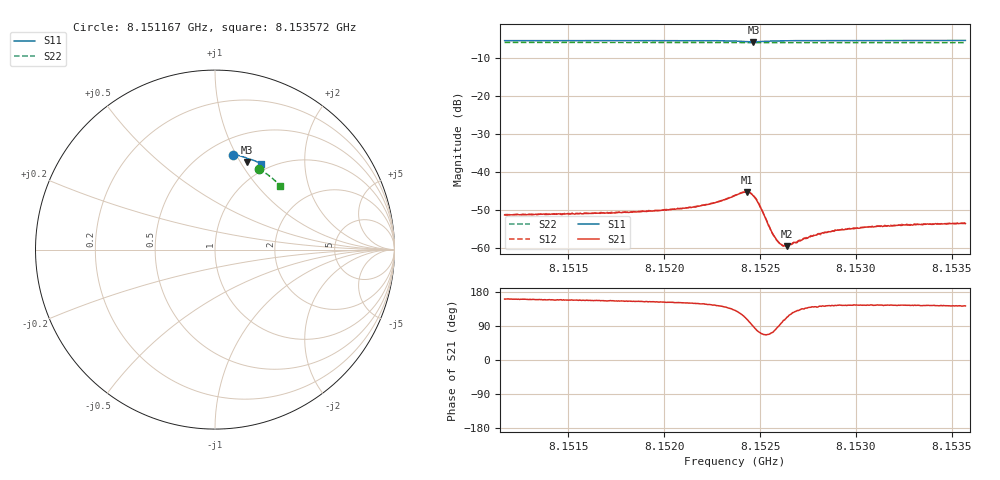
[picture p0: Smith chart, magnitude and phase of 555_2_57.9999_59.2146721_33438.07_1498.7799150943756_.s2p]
#  HZ  S  RI  R  50.00
! Rohde & Schwarz Vector Network Analyzer
! Rohde-Schwarz,ZNB20-2Port,1311601062101988,3.16
! Created: UTC 3/21/2024, 1:15:10 AM
! freq[Hz]  re:S11  im:S11  re:S21  im:S21  re:S12  im:S12  re:S22  im:S22
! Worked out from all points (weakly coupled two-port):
!   401 points, 8.151167 GHz to 8.153572 GHz, reference 50 ohm
!   highest |S21| = -45.29 dB at 8.152429 GHz (marker M1); lowest = -59.6 dB at 8.15264 GHz (marker M2)
!   lowest |S11| = -5.7 dB at 8.152465 GHz (marker M3), VSWR 3.17, Z = 40.1 + j53.6 ohm
!   |S11| at or under -10 dB: nowhere
!   |S22| runs from -5.9 to -5.8 dB; largest |S21 - S12| = 0.00012
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8.1511668e9  0.1018 0.5297  -0.00256 0.000894  -0.00259 0.00092  0.2431 0.4501
8.1515696e9  0.1298 0.5243  -0.00259 0.00109  -0.0026 0.00112  0.2653 0.4368
8.1519724e9  0.1581 0.5168  -0.00274 0.00141  -0.00276 0.00144  0.2868 0.4224
8.1521527e9  0.1715 0.5122  -0.00297 0.00175  -0.00298 0.00178  0.2959 0.4156
8.1522249e9  0.1771 0.5095  -0.0031 0.00205  -0.00311 0.00211  0.2997 0.4128
8.152291e9  0.1827 0.5063  -0.00326 0.00252  -0.00322 0.00257  0.3031 0.41
8.1523692e9  0.1887 0.4988  -0.0032 0.00369  -0.00317 0.00373  0.3069 0.4067
8.1524293e9  0.1871 0.4895  -0.00175 0.00515  -0.0017 0.00519  0.3097 0.4041
8.1524473e9  0.184 0.4878  -0.000798 0.00522  -0.000762 0.00532  0.3103 0.4034
8.1524654e9  0.1801 0.4881  0.000158 0.00482  0.000244 0.0049  0.3111 0.4029
8.1524954e9  0.1767 0.4929  0.00106 0.00354  0.00114 0.00358  0.3123 0.4019
8.1525555e9  0.1811 0.5013  0.00057 0.00162  0.000585 0.00162  0.3156 0.3999
8.1525736e9  0.1831 0.5022  0.000324 0.00138  0.00037 0.00137  0.3164 0.3993
8.1525916e9  0.1852 0.5029  6.65e-05 0.00122  0.000103 0.00122  0.3174 0.3985
8.1526096e9  0.1875 0.5032  -0.000131 0.0011  -0.000114 0.00108  0.3184 0.3979
8.1526217e9  0.1885 0.5034  -0.000268 0.00102  -0.000228 0.00102  0.319 0.3973
8.1526397e9  0.1905 0.5034  -0.000403 0.000969  -0.000411 0.00101  0.3199 0.3966
8.152772e9  0.2024 0.5013  -0.0011 0.000903  -0.00107 0.000923  0.3265 0.3911
8.1529042e9  0.2122 0.4981  -0.00139 0.000991  -0.00139 0.00101  0.3327 0.3854
8.1530786e9  0.2243 0.4933  -0.00156 0.00106  -0.00153 0.00112  0.341 0.378
8.1531748e9  0.2308 0.4908  -0.00157 0.00112  -0.00157 0.00115  0.3452 0.3738
8.1535716e9  0.2562 0.4787  -0.00166 0.00126  -0.00167 0.00134  0.3631 0.3557
